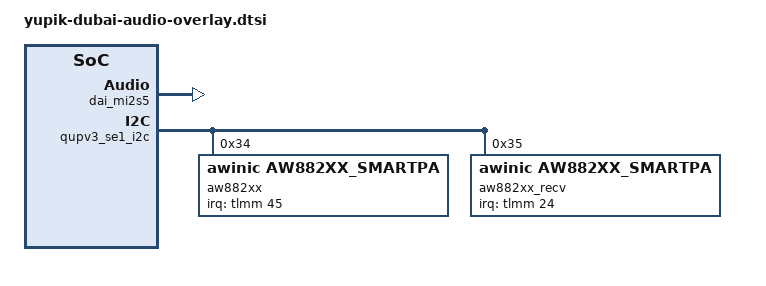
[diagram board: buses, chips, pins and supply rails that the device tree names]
/* Copyright (c) 2019, The Linux Foundation. All rights reserved.
 *
 * This program is free software; you can redistribute it and/or modify
 * it under the terms of the GNU General Public License version 2 and
 * only version 2 as published by the Free Software Foundation.
 *
 * This program is distributed in the hope that it will be useful,
 * but WITHOUT ANY WARRANTY; without even the implied warranty of
 * MERCHANTABILITY or FITNESS FOR A PARTICULAR PURPOSE.  See the
 * GNU General Public License for more details.
 */

&tlmm {
	aw882xx_reset_default: aw882xx_reset_default {
		mux {
			pins = "gpio68";
			function = "gpio";
		};
		config {
			pins = "gpio68";
			drive-strength = <2>; /* 2 MA */
			bias-pull-up;
			output-high;
		};
	};

	aw882xx_irq_default: aw882xx_irq_default {
		mux {
			pins = "gpio45";
			function = "gpio";
		};
		config {
			pins = "gpio45";
			drive-strength = <2>; /* 2 MA */
			bias-pull-up;
		};
	};

	aw882xx_recv_irq_default: aw882xx_recv_irq_default {
                mux {
                        pins = "gpio24";
                        function = "gpio";
                };
                config {
                        pins = "gpio24";
                        drive-strength = <2>; /* 2 MA */
                        bias-pull-up;
                };
        };
};

&dai_mi2s0 {
	status = "disabled";
};

&dai_mi2s1 {
	status = "disabled";
};

&dai_mi2s2 {
	status = "disabled";
};

&dai_mi2s3 {
	status = "disabled";
};

&dai_mi2s4 {
	status = "disabled";
};

&dai_mi2s5 {
	status = "ok";
	qcom,msm-mi2s-rx-lines = <1>;
	qcom,msm-mi2s-tx-lines = <2>;
};

&soc {
	cdc_sen_mi2s_gpios: msm_cdc_pinctrl_pri {
		compatible = "qcom,msm-cdc-pinctrl";
		pinctrl-names = "aud_active", "aud_sleep";
		pinctrl-0 = <&lpi_i2s2_sck_active &lpi_i2s2_ws_active &lpi_i2s2_sd0_active &lpi_i2s2_sd1_active>;
		pinctrl-1 = <&lpi_i2s2_sck_sleep &lpi_i2s2_ws_sleep &lpi_i2s2_sd0_sleep &lpi_i2s2_sd1_sleep>;
	};
};

&qupv3_se1_i2c {
	status = "ok";
	aw882xx: aw882xx_smartpa@34 {
		status = "okay";
		compatible = "awinic,aw882xx_smartpa";
                reg = <0x34>;
                /* reset-gpio = <&tlmm 15 0>; */
                irq-gpio = <&tlmm 45 0x2008>;
                dc-flag = <0>;
                sync-flag = <0>;
                sound-channel = <0>;
                aw-tx-topo-id = <0x1000ff00>;
                aw-rx-topo-id = <0x1000ff01>;
                aw-tx-port-id = <0x1019>;
                aw-rx-port-id = <0x1018>;
                aw-re-min = <4000>;
                aw-re-max= <30000>;
                aw-cali-mode = "aw_attr";
        };

	aw882xx_recv: aw882xx_recv_smartpa@35 {
                status = "okay";
                compatible = "awinic,aw882xx_smartpa";
                reg = <0x35>;
                /* reset-gpio = <&tlmm 15 0>; */
                irq-gpio = <&tlmm 24 0x2008>;
                dc-flag = <0>;
                sync-flag = <0>;
                sound-channel = <1>;
                aw-tx-topo-id = <0x1000ff00>;
                aw-rx-topo-id = <0x1000ff01>;
                aw-tx-port-id = <0x1019>;
                aw-rx-port-id = <0x1018>;
                aw-re-min = <4000>;
                aw-re-max= <30000>;
                aw-cali-mode = "aw_attr";
        };
};

&yupik_snd {
	qcom,model = "lahaina-yupik-snd-card";
	awinic,aw882xx-max-devs = <2>;
	qcom,ext-disp-audio-rx = <0x0>;
	qcom,sen-mi2s-gpios = <&cdc_sen_mi2s_gpios>;

	/*  Primary   AMIC3  PRI_MIC_BIAS  MIC_BIAS3
		Secondary AMIC1  SEC_MIC_BIAS  MIC_BIAS1
		Third     AMIC4  SEC_MIC_BIAS  MIC_BIAS1
		HS        AMIC2  HS_MIC_BIAS   MIC_BIAS2
	*/
	qcom,audio-routing =
		"AMIC1", "Analog Mic1",
		"Analog Mic1", "MIC BIAS1",
		"AMIC2", "Analog Mic2",
		"Analog Mic2", "MIC BIAS2",
		"AMIC3", "Analog Mic3",
		"Analog Mic3", "MIC BIAS3",
		"AMIC4", "Analog Mic4",
		"Analog Mic4", "MIC BIAS1",
		"IN1_HPHL", "HPHL_OUT",
		"IN2_HPHR", "HPHR_OUT",
		"IN3_AUX", "AUX_OUT",
		"RX_TX DEC0_INP", "TX DEC0 MUX",
		"RX_TX DEC1_INP", "TX DEC1 MUX",
		"RX_TX DEC2_INP", "TX DEC2 MUX",
		"RX_TX DEC3_INP", "TX DEC3 MUX",
		"TX SWR_INPUT", "WCD_TX_OUTPUT",
		"VA SWR_INPUT", "VA_SWR_CLK",
		"VA SWR_INPUT", "WCD_TX_OUTPUT",
		"VA_AIF1 CAP", "VA_SWR_CLK",
		"VA_AIF2 CAP", "VA_SWR_CLK",
		"VA_AIF3 CAP", "VA_SWR_CLK";
	asoc-codec  = <&stub_codec>, <&bolero>,
		<&wcd937x_codec>, <&aw882xx>, <&aw882xx_recv>;
	asoc-codec-names = "msm-stub-codec.1", "bolero_codec",
		"wcd937x_codec", "aw882xxacf_smartpa.0-0034", "aw882xxacf_smartpa.0-0035";
};
